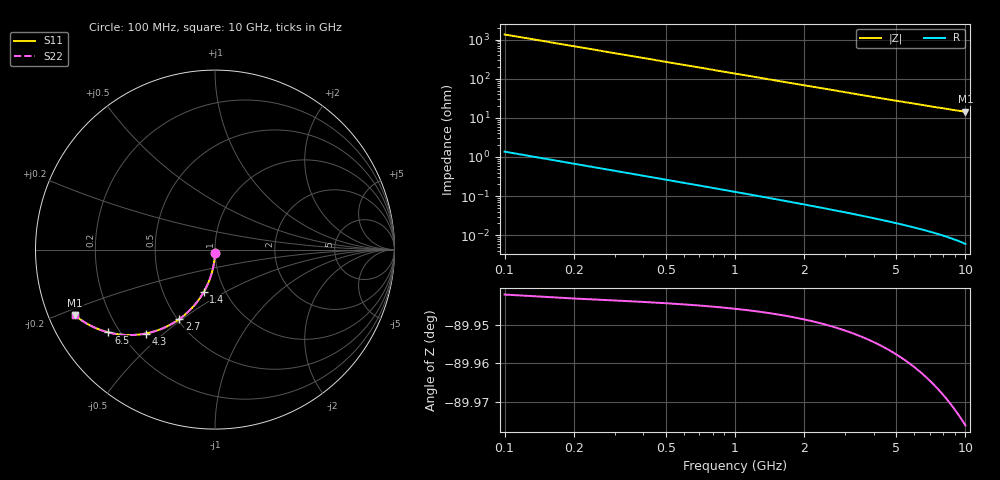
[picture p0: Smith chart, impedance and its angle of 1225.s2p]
# Hz S RI R 50.00
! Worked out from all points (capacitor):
!   100 points, 100 MHz to 10 GHz, reference 50 ohm
!   read as one part in shunt: C = 1.17 pF near 100 MHz
!   lowest |Z| = 14.3 ohm at 10 GHz (marker M1)
!   S11 on the Smith chart (normalised r, x): 100 MHz: 1.00, -0.04; 1.4 GHz: 0.79, -0.40; 2.7 GHz: 0.51, -0.49; 4.3 GHz: 0.29, -0.44; 6.5 GHz: 0.16, -0.34; 10 GHz: 0.08, -0.22
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1e8  -1.43e-05 -0.018  0.9993 -0.0188  0.9993 -0.0188  -1.43e-05 -0.018
2e8  -0.00104 -0.0359  0.9983 -0.0376  0.9983 -0.0376  -0.00104 -0.0359
3e8  -0.00275 -0.0537  0.9966 -0.0564  0.9966 -0.0564  -0.00275 -0.0537
4e8  -0.00511 -0.0715  0.9942 -0.075  0.9942 -0.075  -0.00511 -0.0715
5e8  -0.00813 -0.089  0.9912 -0.0934  0.9912 -0.0934  -0.00813 -0.089
6e8  -0.0118 -0.1064  0.9875 -0.1117  0.9875 -0.1117  -0.0118 -0.1064
7e8  -0.0161 -0.1236  0.9832 -0.1298  0.9832 -0.1298  -0.0161 -0.1236
9e8  -0.0265 -0.1572  0.9728 -0.1652  0.9728 -0.1652  -0.0265 -0.1572
1.1e9  -0.0392 -0.1896  0.96 -0.1993  0.96 -0.1993  -0.0392 -0.1896
1.4e9  -0.0622 -0.2355  0.9371 -0.2478  0.9371 -0.2478  -0.0622 -0.2355
1.8e9  -0.0989 -0.2906  0.9003 -0.3065  0.9003 -0.3065  -0.0989 -0.2906
2.2e9  -0.141 -0.3383  0.8581 -0.3577  0.8581 -0.3577  -0.141 -0.3383
2.7e9  -0.1985 -0.3868  0.8005 -0.4107  0.8005 -0.4107  -0.1985 -0.3868
3.4e9  -0.2824 -0.4349  0.7164 -0.465  0.7164 -0.465  -0.2824 -0.4349
4.3e9  -0.3871 -0.4677  0.6114 -0.5058  0.6114 -0.5058  -0.3871 -0.4677
5.1e9  -0.4714 -0.476  0.5268 -0.5214  0.5268 -0.5214  -0.4714 -0.476
5.8e9  -0.5365 -0.4722  0.4614 -0.5239  0.4614 -0.5239  -0.5365 -0.4722
6.5e9  -0.5934 -0.4613  0.4041 -0.5194  0.4041 -0.5194  -0.5934 -0.4613
6.7e9  -0.6082 -0.4573  0.3892 -0.5172  0.3892 -0.5172  -0.6082 -0.4573
7.5e9  -0.6616 -0.4384  0.3353 -0.5057  0.3353 -0.5057  -0.6616 -0.4384
8.4e9  -0.7116 -0.4137  0.2847 -0.4894  0.2847 -0.4894  -0.7116 -0.4137
1e10  -0.7795 -0.3667  0.2154 -0.4577  0.2154 -0.4577  -0.7795 -0.3667
